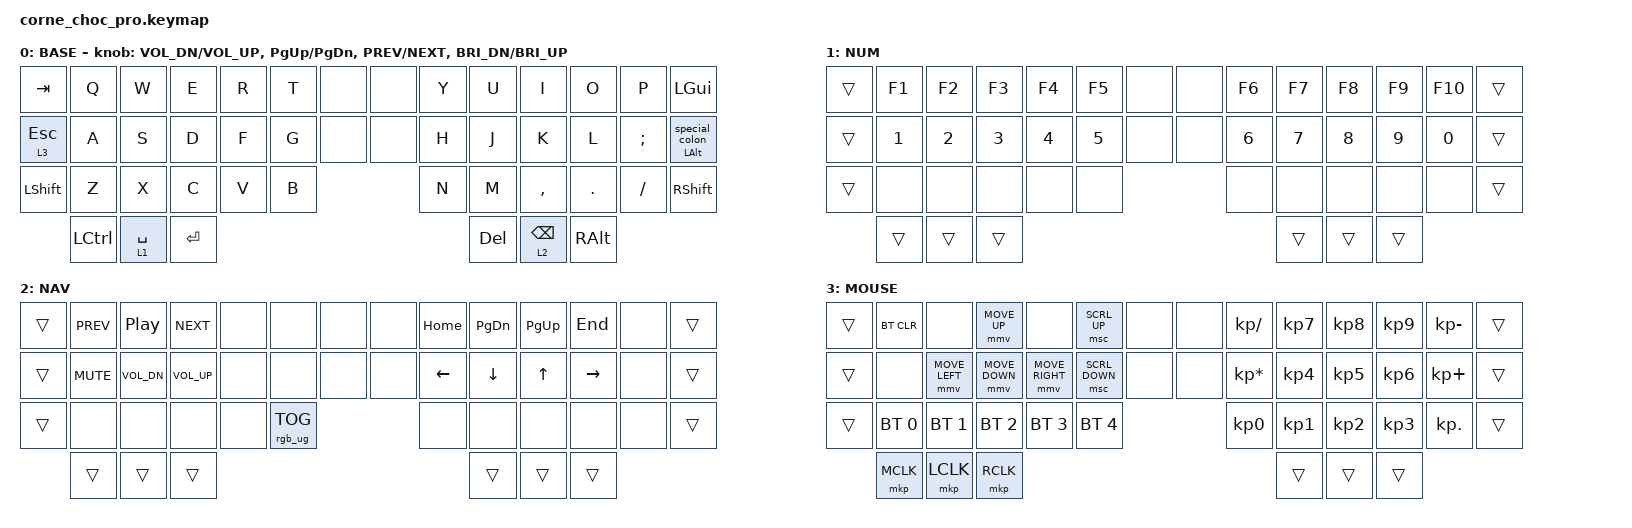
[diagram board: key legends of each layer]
/*
 * Copyright (c) 2020 The ZMK Contributors
 *
 * SPDX-License-Identifier: MIT
 */

#include <behaviors.dtsi>
#include <dt-bindings/zmk/keys.h>
#include <dt-bindings/zmk/bt.h>
#include <dt-bindings/zmk/rgb.h>
#include <dt-bindings/zmk/pointing.h>

/ {
    chosen {
        zmk,physical-layout = &default_layout;
    };
};

/ {
    behaviors {
        special_colon: special_colon {
            compatible = "zmk,behavior-mod-morph";
            label = "SPECIAL_COLON";
            bindings = <&kp RS(N)>, <&kp RS(DOT)>;

            #binding-cells = <0>;
            mods = <(MOD_LSFT|MOD_RSFT)>;
        };

        alt_colon: alt_colon {
            compatible = "zmk,behavior-hold-tap";
            label = "ALT_COLON";
            bindings = <&kp>, <&special_colon>;

            #binding-cells = <2>;
            tapping-term-ms = <200>;
        };
    };

    keymap {
        compatible = "zmk,keymap";

        default_layer {
            display-name = "BASE";
            // --------------------------------------------------------------------------------
            // |  TAB |  Q  |  W  |  E  |  R  |  T  |       |       |  Y  |  U  |  I  |  O  |  P  | LGUI |
            // |  ESC |  A  |  S  |  D  |  F  |  G  |       |       |  H  |  J  |  K  |  L  |  ;  |  ALT |
            // | SHFT |  Z  |  X  |  C  |  V  |  B  |               |  N  |  M  |  ,  |  .  |  /  | SHFT |
            //                    | CTRL| SPC | ENT |               | DEL | BSPC| ALTG| 
            bindings = <
                &kp TAB   &kp Q &kp W &kp E &kp R &kp T &none  &none &kp Y &kp U &kp I     &kp O    &kp P    &kp LGUI
              &lt 3 ESC   &kp A &kp S &kp D &kp F &kp G &none  &none &kp H &kp J &kp K     &kp L    &kp SEMI &alt_colon LEFT_ALT 0
                &kp LSHFT &kp Z &kp X &kp C &kp V &kp B              &kp N &kp M &kp COMMA &kp DOT  &kp FSLH &kp RSHFT
                            &kp LCTRL &lt 1 SPACE &kp RET            &kp DEL &lt 2 BSPC &kp RALT 
            >;
            sensor-bindings = <&inc_dec_kp C_VOL_DN C_VOL_UP &inc_dec_kp PG_UP PG_DN &inc_dec_kp C_PREV C_NEXT &inc_dec_kp C_BRI_DN C_BRI_UP>;
        };

        lower_layer {
            display-name = "NUM";
            // -----------------------------------------------------------------------------------------
            // | TRNS|  F1 |  F2 |  F3 |  F4 |  F5 |     |     |  F6 |  F7 |  F8 |  F9 |  F0 | TRNS|
            // | TRNS|  1  |  2  |  3  |  4  |  5  |     |     |  6  |  7  |  8  |  9  |  0  | TRNS|
            // | TRNS|     |     |     |     |     |           |     |     |     |     |     | TRNS|
            //                   | TRNS| TRNS| TRNS|           | TRNS| TRNS| TRNS|
            bindings = <
                &trans &kp F1 &kp F2 &kp F3 &kp F4 &kp F5 &none  &none &kp F6 &kp F7 &kp F8 &kp F9 &kp F10 &trans
                &trans &kp N1 &kp N2 &kp N3 &kp N4 &kp N5 &none  &none &kp N6 &kp N7 &kp N8 &kp N9 &kp N0  &trans
                &trans &none  &none  &none  &none  &none               &none  &none  &none  &none  &none   &trans
                                     &trans &trans &trans              &trans &trans &trans
            >;
        };

        raise_layer {
            display-name = "NAV";
            // -----------------------------------------------------------------------------------------
            // | TRNS| PREV |  PP  | NEXT |     |     |     |     | HOME|PG_DN|PG_UP| END |     | TRNS|
            // | TRNS| MUTE |VOL_DN|VOL_UP|     |     |     |     | LEFT| DOWN|  UP |RIGHT|     | TRNS|
            // | TRNS|      |      |      |     | RGB |           |     |     |     |     |     | TRNS|
            //                     | TRNS | TRNS| TRNS|           | TRNS| TRNS| TRNS|
            bindings = <
                &trans &kp C_PREV &kp C_PP     &kp C_NEXT   &none  &none &none  &none &kp HOME &kp PG_DN &kp PG_UP &kp END   &none &trans
                &trans &kp C_MUTE &kp C_VOL_DN &kp C_VOL_UP &none  &none &none  &none &kp LEFT &kp DOWN  &kp UP    &kp RIGHT &none &trans
                &trans &none      &none        &none        &none  &rgb_ug RGB_TOG    &none    &none     &none     &none     &none &trans
                                               &trans       &trans &trans             &trans   &trans    &trans
            >;
        };

        extra_layer_1 {
            display-name = "MOUSE";
            // -----------------------------------------------------------------------------------------
            // | TRNS| BTCR|       | MV_UP|        | SCRL_UP|     |     | KP_/|KP_N7|KP_N8|KP_N9| KP_-| TRNS|
            // | TRNS|     |MV_LEFT|MV_DWN|MV_RIGHT|SCRL_DWN|     |     | KP_*|KP_N4|KP_N5|KP_N6| KP_+| TRNS|
            // | TRNS| BT1 |  BT2  |  BT3 |  BT4   |  BT5   |           | KP_0|KP_N1|KP_N2|KP_N3| KP_.| TRNS|
            //                     | MCLK |  LCLK  |  RCLK  |           | TRNS| TRNS| TRNS|
            bindings = <
                &trans &bt BT_CLR   &none          &mmv MOVE_UP   &none           &msc SCRL_UP   &none  &none &kp KP_DIVIDE   &kp KP_N7 &kp KP_N8 &kp KP_N9 &kp KP_MINUS &trans
                &trans &none        &mmv MOVE_LEFT &mmv MOVE_DOWN &mmv MOVE_RIGHT &msc SCRL_DOWN &none  &none &kp KP_MULTIPLY &kp KP_N4 &kp KP_N5 &kp KP_N6 &kp KP_PLUS  &trans
                &trans &bt BT_SEL 0 &bt BT_SEL 1   &bt BT_SEL 2   &bt BT_SEL 3    &bt BT_SEL 4                &kp KP_N0       &kp KP_N1 &kp KP_N2 &kp KP_N3 &kp KP_DOT   &trans
                                                   &mkp MCLK      &mkp LCLK       &mkp RCLK                   &trans          &trans    &trans       
            >;
        };
    };
};
